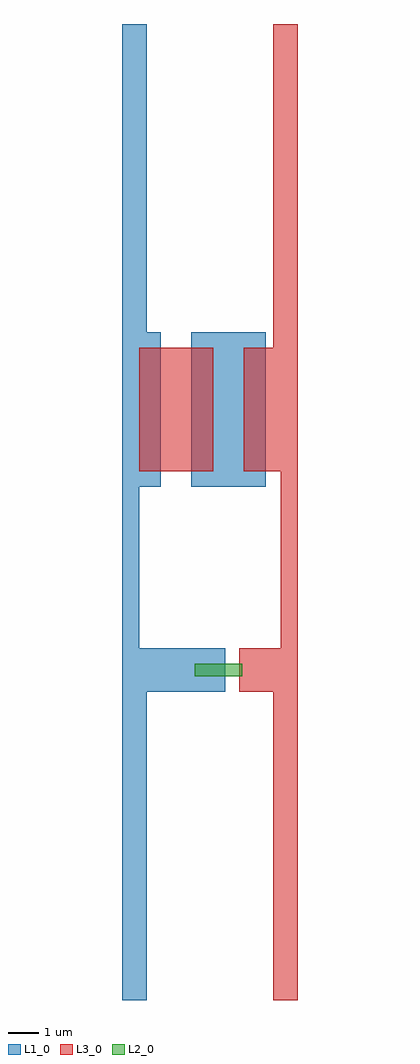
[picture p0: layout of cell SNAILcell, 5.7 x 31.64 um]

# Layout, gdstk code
import gdstk
lib = gdstk.Library(unit=1e-6, precision=1e-09)
def R(c, l, rs):  # rectangles x0, y0, x1, y1
    for r in rs: c.add(gdstk.rectangle(r[:2], r[2:], *l))
L1_0 = (1, 0)
L2_0 = (2, 0)
L3_0 = (3, 0)

snailcell = lib.new_cell('SNAILcell')
R(snailcell, L1_0, [(-0.05,-15.82,0.75,-5.72), (-0.05,-5.82,1.85,-4.42), (1.75,-5.82,3.3,-4.42), (-0.05,-4.52,0.5,0.92), (-0.05,0.82,1.2,5.82), (2.2,0.82,3.45,5.82), (3.35,0.82,4.6,5.82), (-0.05,5.72,0.75,15.82)])
R(snailcell, L2_0, [(2.3,-5.32,3.85,-4.92)])
R(snailcell, L3_0, [(4.85,-15.82,5.65,-5.72), (3.75,-5.82,5.65,-4.42), (5.1,-4.52,5.65,5.32), (0.5,1.32,1.75,5.32), (1.65,1.32,2.9,5.32), (3.9,1.32,5.15,5.32), (5.05,1.32,5.1,5.32), (4.85,5.22,5.65,15.82)])

lib.write_gds('SNAILcell.gds')
